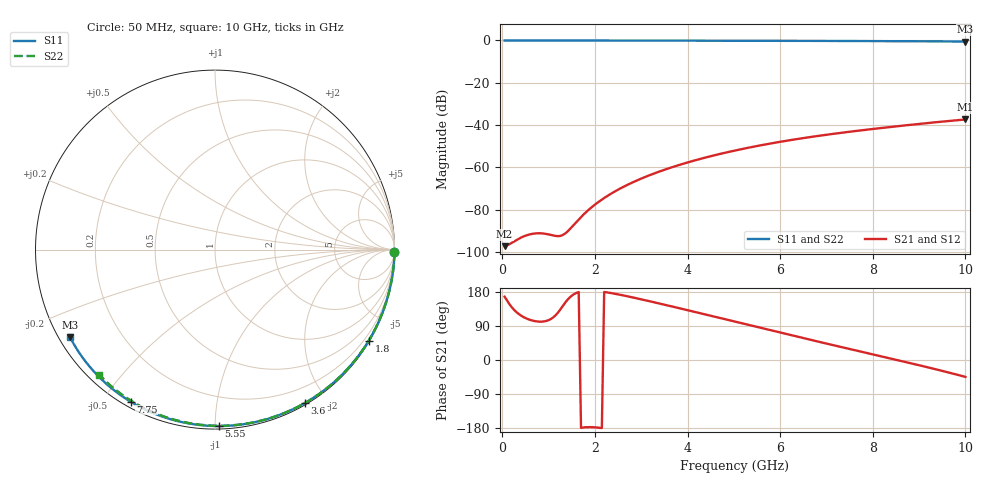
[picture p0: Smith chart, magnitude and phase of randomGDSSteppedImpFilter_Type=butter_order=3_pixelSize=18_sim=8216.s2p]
! freq	dB(S11)	phase(S11)	dB(S12)	phase(S12)
!  dB(S21)	phase(S21)	dB(S22)	phase(S22)
!S-par simulation data
#  GHz  S  DB  R 50
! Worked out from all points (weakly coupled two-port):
!   200 points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, 50 MHz to 10 GHz, reference 50 ohm
!   highest |S21| = -37.37 dB at 10 GHz (marker M1); lowest = -97.3 dB at 50 MHz (marker M2)
!   lowest |S11| = -0.5 dB at 10 GHz (marker M3), VSWR 34.56, Z = 1.56 - j14 ohm
!   |S11| at or under -10 dB: nowhere
!   |S22| runs from -0.4 to 0.0 dB; largest |S21 - S12| = 0
!   S11 on the Smith chart (normalised r, x): 50 MHz: open; 1.8 GHz: 0.03, -3.66; 3.6 GHz: 0.02, -1.75; 5.55 GHz: 0.02, -1.02; 7.75 GHz: 0.02, -0.59; 10 GHz: 0.03, -0.28
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0.05  -0.00 -0.9  -97.27 167.1  -97.27 167.1  -0.00 -0.8
0.45  -0.01 -7.8  -92.75 113.9  -92.75 113.9  -0.01 -6.9
0.9  -0.02 -15.5  -91.31 101.8  -91.31 101.8  -0.02 -13.7
1.75  -0.04 -29.8  -82.39 -178.1  -82.39 -178.1  -0.03 -26.5
1.8  -0.04 -30.6  -81.34 -177.5  -81.34 -177.5  -0.03 -27.2
1.85  -0.04 -31.4  -80.35 -177.1  -80.35 -177.1  -0.04 -28.0
1.9  -0.04 -32.2  -79.40 -177.1  -79.40 -177.1  -0.04 -28.7
2.2  -0.05 -37.2  -74.49 179.6  -74.49 179.6  -0.04 -33.1
2.4  -0.05 -40.5  -71.78 175.5  -71.78 175.5  -0.05 -36.0
2.6  -0.06 -43.7  -69.39 170.7  -69.39 170.7  -0.05 -38.9
2.95  -0.06 -49.4  -65.78 161.5  -65.78 161.5  -0.06 -44.0
3.4  -0.07 -56.5  -61.92 148.9  -61.92 148.9  -0.07 -50.4
3.6  -0.08 -59.6  -60.41 143.1  -60.41 143.1  -0.07 -53.2
4.3  -0.10 -70.4  -55.86 122.7  -55.86 122.7  -0.09 -62.9
5.05  -0.12 -81.5  -51.92 100.6  -51.92 100.6  -0.11 -72.9
5.55  -0.14 -88.7  -49.70 85.7  -49.70 85.7  -0.13 -79.5
6.1  -0.17 -96.5  -47.55 69.5  -47.55 69.5  -0.15 -86.5
6.7  -0.20 -104.9  -45.51 52.0  -45.51 52.0  -0.18 -94.0
7.75  -0.27 -119.0  -42.49 21.9  -42.49 21.9  -0.24 -106.7
8.35  -0.32 -127.0  -40.98 4.9  -40.98 4.9  -0.29 -113.8
9.2  -0.41 -138.2  -39.02 -19.7  -39.02 -19.7  -0.36 -123.7
10  -0.50 -148.8  -37.37 -44.6  -37.37 -44.6  -0.45 -132.9
